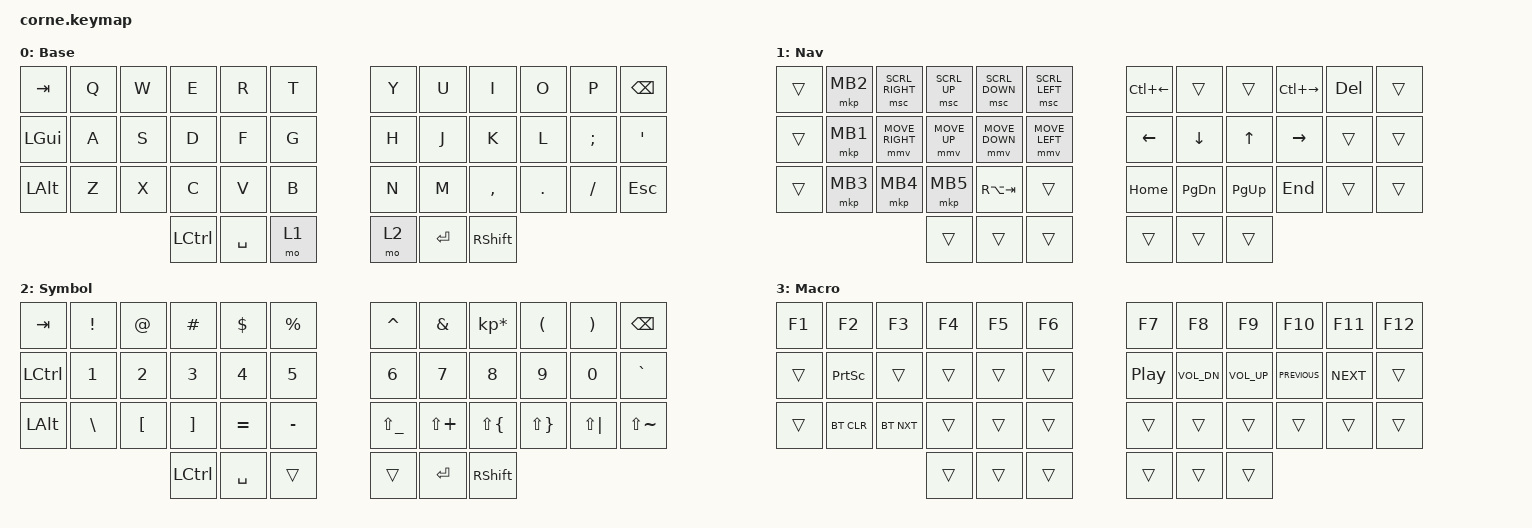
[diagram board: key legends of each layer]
/*
 * Copyright (c) 2020 The ZMK Contributors
 *
 * SPDX-License-Identifier: MIT
 */

#define ZMK_POINTING_DEFAULT_MOVE_VAL 1500

#include <behaviors.dtsi>
#include <dt-bindings/zmk/bt.h>
#include <dt-bindings/zmk/keys.h>
#include <dt-bindings/zmk/pointing.h>

/ {
    combos {
        compatible = "zmk,combos";

        go_macro {
            bindings = <&mo 3>;
            key-positions = <38 39>;
        };
    };

    keymap {
        compatible = "zmk,keymap";

        Base {
            display-name = "Base";
            bindings = <
&kp TAB       &kp Q  &kp W  &kp E             &kp R      &kp T    &kp Y  &kp U      &kp I            &kp O    &kp P     &kp BSPC
&kp LEFT_GUI  &kp A  &kp S  &kp D             &kp F      &kp G    &kp H  &kp J      &kp K            &kp L    &kp SEMI  &kp SQT
&kp LEFT_ALT  &kp Z  &kp X  &kp C             &kp V      &kp B    &kp N  &kp M      &kp COMMA        &kp DOT  &kp FSLH  &kp ESC
                            &kp LEFT_CONTROL  &kp SPACE  &mo 1    &mo 2  &kp ENTER  &kp RIGHT_SHIFT
            >;
        };

        Nav {
            display-name = "Nav";
            bindings = <
&trans  &mkp MB2  &msc SCRL_RIGHT  &msc SCRL_UP  &msc SCRL_DOWN  &msc SCRL_LEFT    &kp LC(LEFT_ARROW)  &trans         &trans     &kp LC(RIGHT_ARROW)  &kp DELETE  &trans
&trans  &mkp MB1  &mmv MOVE_RIGHT  &mmv MOVE_UP  &mmv MOVE_DOWN  &mmv MOVE_LEFT    &kp LEFT            &kp DOWN       &kp UP     &kp RIGHT            &trans      &trans
&trans  &mkp MB3  &mkp MB4         &mkp MB5      &kp RA(TAB)     &trans            &kp HOME            &kp PAGE_DOWN  &kp PG_UP  &kp END              &trans      &trans
                                   &trans        &trans          &trans            &trans              &trans         &trans
            >;
        };

        Symbol {
            display-name = "Symbol";
            bindings = <
&kp TAB    &kp EXCL  &kp AT    &kp HASH   &kp DLLR   &kp PRCNT    &kp CARET      &kp AMPS      &kp KP_MULTIPLY  &kp LPAR      &kp RPAR      &kp BSPC
&kp LCTRL  &kp N1    &kp N2    &kp N3     &kp N4     &kp N5       &kp N6         &kp N7        &kp N8           &kp N9        &kp N0        &kp GRAVE
&kp LALT   &kp BSLH  &kp LBKT  &kp RBKT   &kp EQUAL  &kp MINUS    &kp LS(UNDER)  &kp LS(PLUS)  &kp LS(LBRC)     &kp LS(RBRC)  &kp LS(PIPE)  &kp LS(TILDE)
                               &kp LCTRL  &kp SPACE  &trans       &trans         &kp ENTER     &kp RIGHT_SHIFT
            >;
        };

        macro {
            display-name = "Macro";
            bindings = <
&kp F1  &kp F2           &kp F3      &kp F4  &kp F5  &kp F6    &kp F7            &kp F8        &kp F9           &kp F10         &kp F11     &kp F12
&trans  &kp PRINTSCREEN  &trans      &trans  &trans  &trans    &kp C_PLAY_PAUSE  &kp C_VOL_DN  &kp C_VOLUME_UP  &kp C_PREVIOUS  &kp C_NEXT  &trans
&trans  &bt BT_CLR       &bt BT_NXT  &trans  &trans  &trans    &trans            &trans        &trans           &trans          &trans      &trans
                                     &trans  &trans  &trans    &trans            &trans        &trans
            >;
        };

        extra_2 { status = "reserved"; };

        extra_3 { status = "reserved"; };
    };
};
